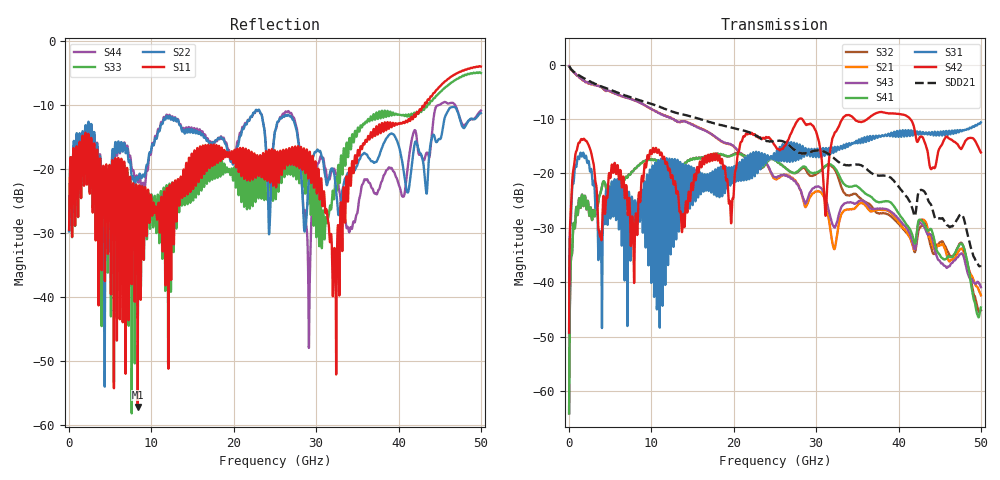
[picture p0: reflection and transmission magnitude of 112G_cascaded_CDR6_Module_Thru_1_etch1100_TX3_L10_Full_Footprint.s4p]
! Created Tue Feb 26 13:25:51 2019
# hz S ma R 50
! 4 Port Network Data from SP1.SP block
! freq  magS11  angS11  magS12  angS12  magS13  angS13  magS14  angS14
!  magS21  angS21  magS22  angS22  magS23  angS23  magS24  angS24
!  magS31  angS31  magS32  angS32  magS33  angS33  magS34  angS34
!  magS41  angS41  magS42  angS42  magS43  angS43  magS44  angS44
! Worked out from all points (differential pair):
!   5000 points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, 10 MHz to 50 GHz, reference 50 ohm
!   strongest paths, dB at 10 MHz, 12.51 GHz, 25.01 GHz, 37.51 GHz, 50 GHz:
!     S42: -49.3, -20.3, -14.9, -8.8, -16.1
!     S31: -49.3, -17.4, -17.0, -13.3, -10.6
!     S41: -64.1, -18.0, -17.6, -25.3, -44.6
!     S43: -0.3, -10.0, -20.7, -26.5, -40.9
!     S21: -0.3, -10.0, -21.0, -26.7, -42.4
!     S32: -64.1, -18.0, -17.6, -27.3, -45.1
!   taken as a pair (ports 3,1 in; 4,2 out), SDD21 dB: -0.3, -8.6, -14.1, -20.4, -37.2
!   lowest |S11| = -57.2 dB at 8.34 GHz (marker M1), VSWR 1.00, Z = 49.9 - j0.0968 ohm
!   |S11| at or under -10 dB: start of sweep to 43.14 GHz
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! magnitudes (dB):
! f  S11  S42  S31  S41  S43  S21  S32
! 10 MHz  -29.5  -49.3  -49.3  -64.1  -0.3  -0.3  -64.1
! 1.35 GHz  -16.8  -14.1  -16.4  -25.8  -2.5  -2.5  -25.8
! 8.34 GHz  -57.2  -28.9  -25.4  -18.6  -6.8  -6.8  -18.6
! 27.99 GHz  -19.8  -10.0  -14.7  -19.3  -22.8  -22.7  -19.4
! 29.12 GHz  -19.4  -11.0  -15.6  -19.6  -24.0  -24.8  -20.2
! 32.24 GHz  -32.4  -12.6  -15.1  -19.0  -30.0  -33.9  -19.3
! 50 GHz  -4.0  -16.1  -10.6  -44.6  -40.9  -42.4  -45.1
